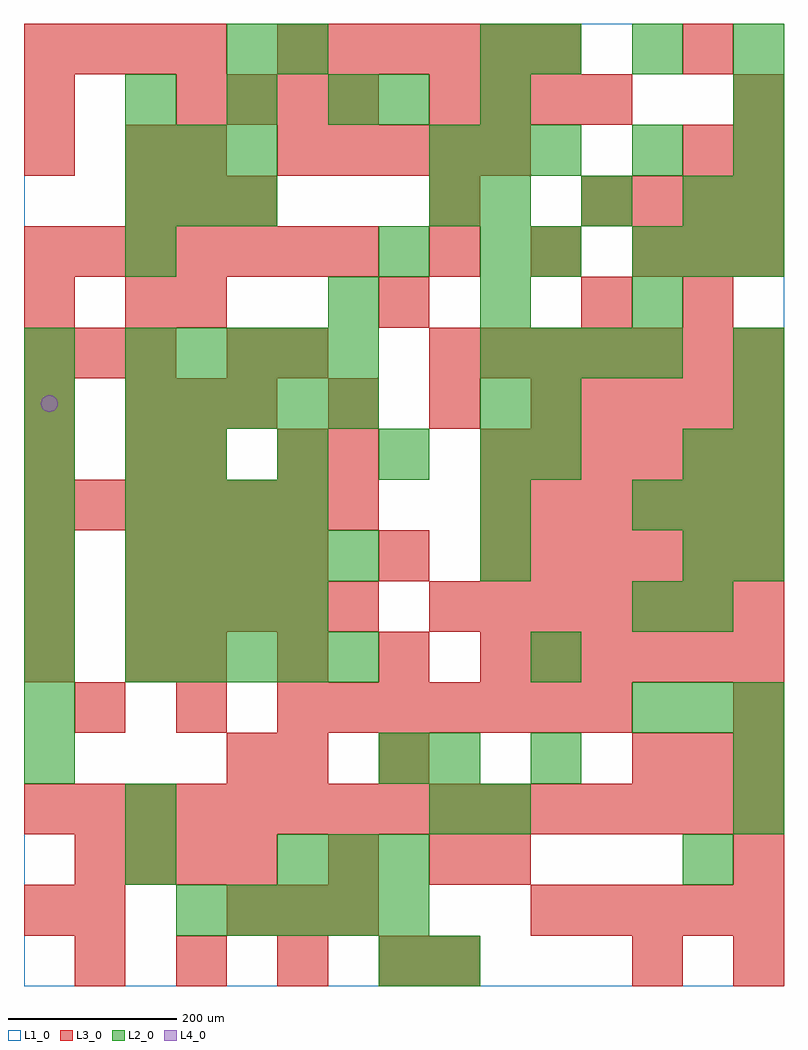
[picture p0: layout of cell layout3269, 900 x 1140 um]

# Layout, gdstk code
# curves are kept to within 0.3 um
import gdstk
lib = gdstk.Library(unit=1e-6, precision=1e-09)
def R(c, l, rs):  # rectangles x0, y0, x1, y1
    for r in rs: c.add(gdstk.rectangle(r[:2], r[2:], *l))
def A(c, l, x, y, w, h, nx, ny, dx, dy):  # array of equal rectangles
    R(c, l, [(x+i*dx, y+j*dy, x+i*dx+w, y+j*dy+h) for i in range(nx) for j in range(ny)])
def P(c, l, *ps):  # polygons
    for p in ps: c.add(gdstk.Polygon(p, *l))
L1_0 = (1, 0)
L2_0 = (2, 0)
L3_0 = (3, 0)
L4_0 = (4, 0)

layout3269 = lib.new_cell('layout3269')
R(layout3269, L1_0, [(0,0,900,1140)])
A(layout3269, L2_0, 180, 60, 60, 60, 5, 1, 60, 0)
A(layout3269, L2_0, 300, 120, 60, 60, 3, 1, 60, 0)
A(layout3269, L2_0, 0, 240, 60, 60, 1, 9, 0, 60)
A(layout3269, L2_0, 720, 300, 60, 60, 3, 2, 60, 240)
A(layout3269, L2_0, 120, 360, 60, 60, 5, 2, 60, 120)
A(layout3269, L2_0, 120, 420, 60, 60, 4, 2, 60, 120)
A(layout3269, L2_0, 180, 600, 60, 60, 4, 1, 120, 0)
A(layout3269, L2_0, 840, 600, 60, 60, 1, 3, 0, 60)
A(layout3269, L2_0, 120, 660, 60, 60, 5, 2, 60, 60)
A(layout3269, L2_0, 540, 660, 60, 60, 1, 3, 0, 180)
A(layout3269, L2_0, 540, 720, 60, 60, 4, 1, 60, 0)
A(layout3269, L2_0, 360, 780, 60, 60, 3, 1, 180, 0)
A(layout3269, L2_0, 720, 840, 60, 60, 3, 1, 60, 0)
A(layout3269, L2_0, 120, 900, 60, 60, 3, 2, 60, 60)
A(layout3269, L2_0, 540, 900, 60, 60, 3, 1, 120, 0)
A(layout3269, L2_0, 840, 900, 60, 60, 1, 3, 0, 60)
A(layout3269, L2_0, 480, 960, 60, 60, 3, 1, 60, 0)
A(layout3269, L2_0, 120, 1020, 60, 60, 3, 1, 120, 0)
A(layout3269, L2_0, 600, 1080, 60, 60, 3, 1, 120, 0)
R(layout3269, L2_0, [(420,0,480,60), (480,0,540,60), (120,120,180,180), (780,120,840,180), (120,180,180,240), (480,180,540,240), (540,180,600,240), (840,180,900,240), (420,240,480,300), (480,240,540,300), (600,240,660,300), (840,240,900,300), (600,360,660,420), (720,420,780,480), (780,420,840,480), (540,480,600,540), (780,480,840,540), (840,480,900,540), (540,540,600,600), (120,600,180,660), (600,600,660,660), (780,600,840,660), (600,660,660,720), (120,840,180,900), (420,840,480,900), (600,840,660,900), (480,900,540,960), (720,960,780,1020), (420,1020,480,1080), (240,1080,300,1140), (300,1080,360,1140), (540,1080,600,1140)])
A(layout3269, L3_0, 60, 0, 60, 60, 4, 1, 120, 0)
A(layout3269, L3_0, 240, 60, 60, 60, 3, 1, 60, 0)
A(layout3269, L3_0, 600, 60, 60, 60, 5, 2, 60, 300)
A(layout3269, L3_0, 60, 120, 60, 60, 4, 1, 60, 0)
A(layout3269, L3_0, 0, 180, 60, 60, 15, 1, 60, 0)
A(layout3269, L3_0, 720, 240, 60, 60, 3, 1, 60, 0)
A(layout3269, L3_0, 60, 300, 60, 60, 3, 1, 120, 0)
A(layout3269, L3_0, 360, 300, 60, 60, 6, 1, 60, 0)
A(layout3269, L3_0, 0, 360, 60, 60, 1, 3, 0, 60)
A(layout3269, L3_0, 180, 360, 60, 60, 4, 1, 120, 0)
A(layout3269, L3_0, 120, 420, 60, 60, 5, 1, 60, 0)
A(layout3269, L3_0, 480, 420, 60, 60, 7, 2, 60, 300)
A(layout3269, L3_0, 120, 480, 60, 60, 4, 1, 60, 0)
A(layout3269, L3_0, 540, 480, 60, 60, 6, 3, 60, 60)
A(layout3269, L3_0, 0, 540, 60, 60, 7, 2, 60, 300)
A(layout3269, L3_0, 120, 600, 60, 60, 1, 3, 0, 180)
A(layout3269, L3_0, 120, 660, 60, 60, 3, 2, 60, 240)
A(layout3269, L3_0, 360, 660, 60, 60, 3, 1, 120, 0)
A(layout3269, L3_0, 660, 660, 60, 60, 4, 2, 60, 240)
A(layout3269, L3_0, 0, 720, 60, 60, 3, 1, 60, 0)
A(layout3269, L3_0, 180, 780, 60, 60, 3, 1, 240, 0)
A(layout3269, L3_0, 480, 840, 60, 60, 3, 1, 120, 0)
A(layout3269, L3_0, 780, 840, 60, 60, 1, 3, 0, 120)
A(layout3269, L3_0, 300, 960, 60, 60, 5, 1, 60, 0)
A(layout3269, L3_0, 180, 1020, 60, 60, 4, 1, 60, 0)
A(layout3269, L3_0, 480, 1020, 60, 60, 4, 1, 60, 0)
A(layout3269, L3_0, 0, 1080, 60, 60, 4, 1, 60, 0)
A(layout3269, L3_0, 300, 1080, 60, 60, 6, 1, 60, 0)
R(layout3269, L3_0, [(480,0,540,60), (720,0,780,60), (840,0,900,60), (0,60,60,120), (60,60,120,120), (360,120,420,180), (480,120,540,180), (540,120,600,180), (840,120,900,180), (240,240,300,300), (300,240,360,300), (420,240,480,300), (840,300,900,360), (120,360,180,420), (420,480,480,540), (0,600,60,660), (180,600,240,660), (300,600,360,660), (360,600,420,660), (0,660,60,720), (240,720,300,780), (300,720,360,780), (0,780,60,840), (780,780,840,840), (840,840,900,900), (480,900,540,960), (0,960,60,1020), (180,960,240,1020), (840,960,900,1020), (0,1020,60,1080), (840,1020,900,1080)])
P(layout3269, L4_0, [(40,690),(39.239,693.827),(37.071,697.071),(33.827,699.239),(30,700),(26.173,699.239),(22.929,697.071),(20.761,693.827),(20,690),(20.761,686.173),(22.929,682.929),(26.173,680.761),(30,680),(33.827,680.761),(37.071,682.929),(39.239,686.173)])

lib.write_gds('layout3269.gds')
